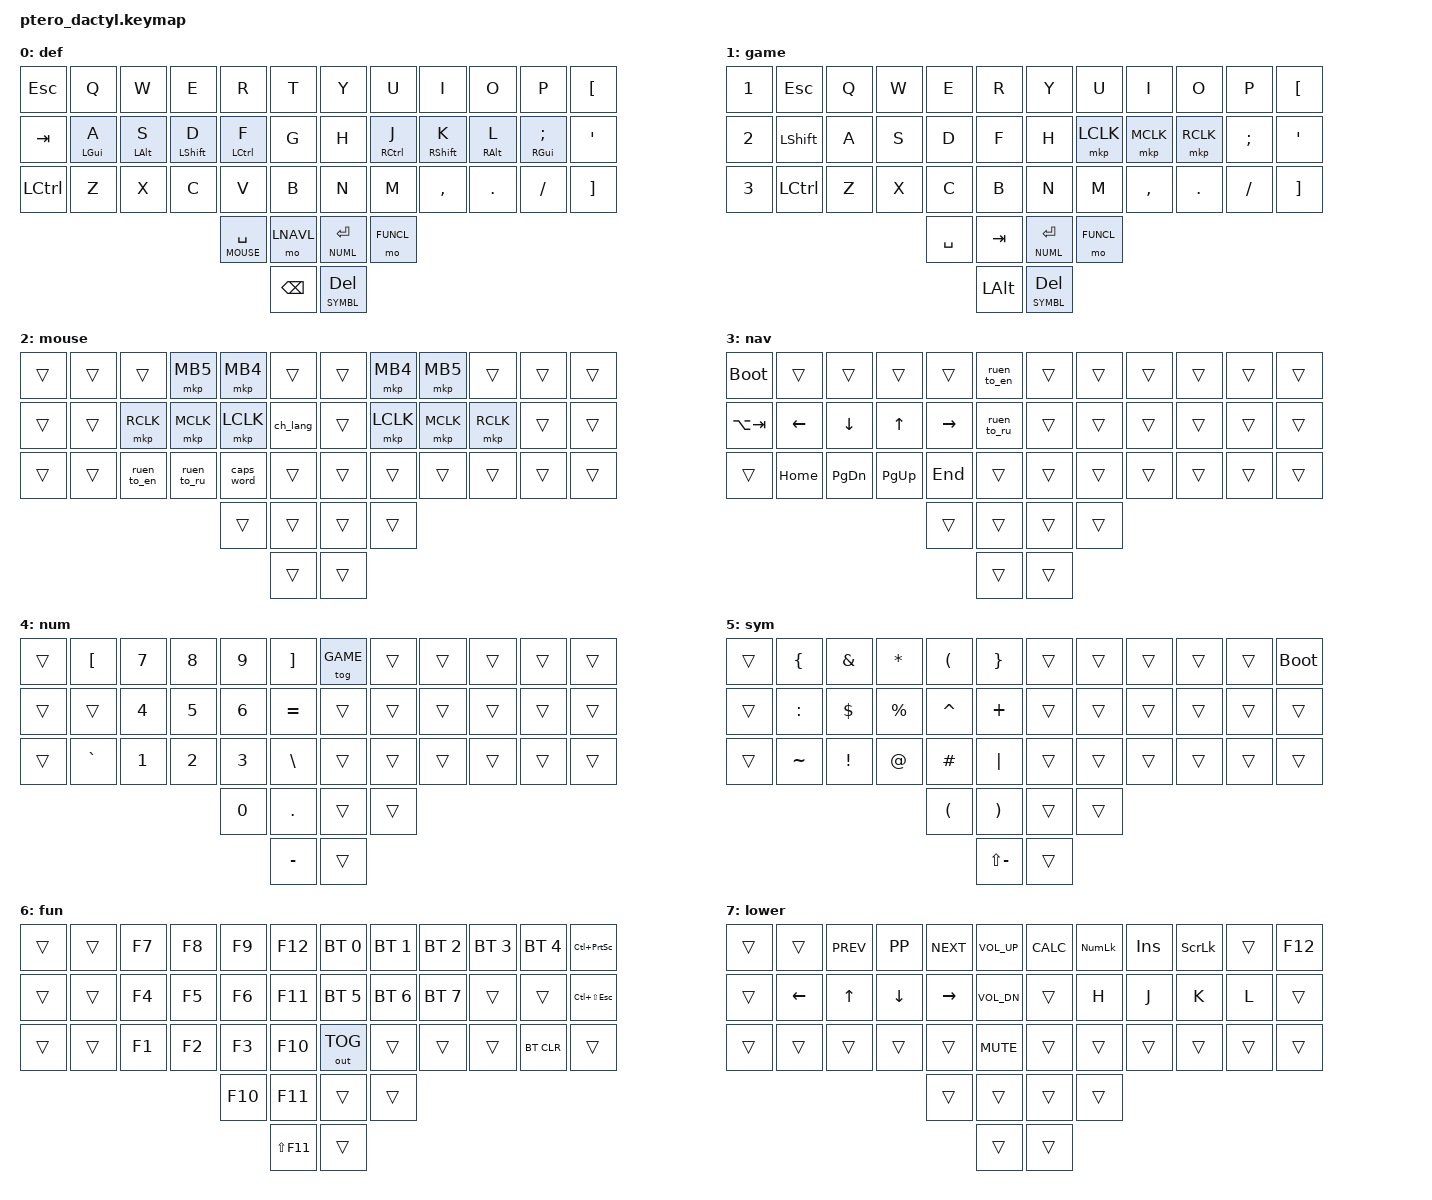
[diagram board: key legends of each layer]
#include <behaviors.dtsi>
#include <dt-bindings/zmk/keys.h>
#include <dt-bindings/zmk/bt.h>
#include <dt-bindings/zmk/pointing.h>
#include <dt-bindings/zmk/outputs.h>

// #include <behaviors/ruen.dtsi>

#define AS(keycode) &as LS(keycode) keycode     // Autoshift Macro

#define DEFAULT 0
#define GAME    1
#define MOUSE   2
#define LNAVL   3
#define NUML    4
#define SYMBL   5
#define FUNCL   6
#define LOWER   7

&caps_word {
    continue-list = <UNDERSCORE MINUS>;
};

/ {
    behaviors {
        as: auto_shift {
            compatible = "zmk,behavior-hold-tap";
            #binding-cells = <2>;
            tapping_term_ms = <145>;
            quick_tap_ms = <0>;
            flavor = "tap-preferred";
            bindings = <&kp>, <&kp>;
        };
        hml: home_row_mod_left {
            compatible = "zmk,behavior-hold-tap";
            #binding-cells = <2>;
            flavor = "balanced";
            require-prior-idle-ms = <150>;
            tapping-term-ms = <280>;
            quick-tap-ms = <175>;
            bindings = <&kp>, <&kp>;
            hold-trigger-key-positions = <6 7 8 9 10 11 18 19 20 21 22 23 30 31 32 33 34 35 38 39 41>; // List of keys on the right side of the keyboard
            hold-trigger-on-release;
        };
        hmr: home_row_mod_right {
            compatible = "zmk,behavior-hold-tap";
            #binding-cells = <2>;
            flavor = "balanced";
            require-prior-idle-ms = <150>;
            tapping-term-ms = <280>;
            quick-tap-ms = <175>;
            bindings = <&kp>, <&kp>;
            hold-trigger-key-positions = <0 1 2 3 4 5 12 13 14 15 16 17 24 25 26 27 28 29 36 37 40>; // List of keys on the left side of the keyboard
            hold-trigger-on-release;
        };
    };

    macros {
        ruen_to_en: ruen_to_en {
            compatible = "zmk,behavior-macro";
            #binding-cells = <0>;
            bindings = <&kp LA(LS(N0))>; // хоткей для переключения на английский
        };

        ruen_to_ru: ruen_to_ru {
            compatible = "zmk,behavior-macro";
            #binding-cells = <0>;
            bindings = <&kp LA(LS(N1))>; // хоткей для переключения на русский
        };

        ch_lang: ch_lang {
            compatible = "zmk,behavior-macro";
            #binding-cells = <0>;
            bindings
                = <&macro_press &kp LALT>
                , <&macro_tap &kp LSHFT>
                , <&macro_release &kp LALT>
                ;
        };
    };

    keymap {
        compatible = "zmk,keymap";

        default_layer {
            display-name = "def";
            bindings = <
&kp ESC    &kp Q        &kp W         &kp E                &kp R            &kp T                           &kp Y            &kp U         &kp I             &kp O       &kp P             &kp LBKT
&kp TAB    &hml LGUI A  &hml LALT S   &hml LSHFT D         &hml LCTRL F     &kp G                           &kp H            &hmr RCTRL J  &hmr RSHFT K      &hmr RALT L &hmr RGUI SEMI    &kp SQT
&kp LCTRL  &kp Z        &kp X         &kp C                &kp V            &kp B                           &kp N            &kp M         &kp COMMA         &kp DOT     &kp FSLH          &kp RBKT
                                                           &lt MOUSE SPACE  &mo LNAVL                       &lt NUML ENTER   &mo FUNCL
                                                                            &kp BSPC                        &lt SYMBL DEL
            >;
        };

        game_layer {
            display-name = "game";
            bindings = <
&kp N1     &kp ESC    &kp Q      &kp W     &kp E      &kp R                                 &kp Y            &kp U      &kp I      &kp O      &kp P          &kp LBKT
&kp N2     &kp LSHIFT &kp A      &kp S     &kp D      &kp F                                 &kp H            &mkp LCLK  &mkp MCLK  &mkp RCLK  &kp SEMI       &kp SQT
&kp N3     &kp LCTRL  &kp Z      &kp X     &kp C      &kp B                                 &kp N            &kp M      &kp COMMA  &kp DOT    &kp FSLH       &kp RBKT
                                           &kp SPACE  &kp TAB                               &lt NUML ENTER   &mo FUNCL
                                                      &kp LALT                             &lt SYMBL DEL
            >;
        };

        as_layer {
            display-name = "mouse";
            bindings = <
&trans       &trans    &trans         &mkp MB5   &mkp MB4   &trans                           &trans      &mkp MB4    &mkp MB5    &trans      &trans      &trans
&trans       &trans    &mkp RCLK      &mkp MCLK  &mkp LCLK  &ch_lang                         &trans      &mkp LCLK   &mkp MCLK   &mkp RCLK   &trans      &trans
&trans       &trans    &ruen_to_en    &ruen_to_ru        &caps_word     &trans                           &trans      &trans      &trans      &trans      &trans      &trans
                                                            &trans     &trans                           &trans      &trans
                                                                       &trans                           &trans
            >;
        };

        lnavl {
            display-name = "nav";
            bindings = <
&bootloader  &trans    &trans    &trans     &trans     &ruen_to_en                   &trans      &trans      &trans      &trans      &trans      &trans
&kp LA(TAB)  &kp LEFT  &kp DOWN  &kp UP     &kp RIGHT  &ruen_to_ru                  &trans      &trans      &trans      &trans      &trans      &trans
&trans       &kp HOME  &kp PG_DN &kp PG_UP  &kp END    &trans                           &trans      &trans      &trans      &trans      &trans      &trans
                                            &trans     &trans                           &trans      &trans
                                                       &trans                           &trans
            >;
        };

        numl {
            display-name = "num";
            bindings = <
&trans    &kp LBKT  &kp N7      &kp N8        &kp N9       &kp RBKT                         &tog GAME   &trans      &trans      &trans      &trans      &trans
&trans    &trans    &kp N4      &kp N5        &kp N6       &kp EQUAL                        &trans      &trans      &trans      &trans      &trans      &trans
&trans    &kp GRAVE &kp N1      &kp N2        &kp N3       &kp BACKSLASH                    &trans      &trans      &trans      &trans      &trans      &trans
                                              &kp N0       &kp DOT                          &trans      &trans
                                                           &kp MINUS                        &trans
            >;
        };

        symbl {
            display-name = "sym";
            bindings = <
&trans    &kp LBRC  &kp AMPS   &kp ASTRK    &kp LPAR    &kp RBRC                        &trans      &trans      &trans      &trans      &trans      &bootloader
&trans    &kp COLON &kp DLLR   &kp PRCNT    &kp CARET   &kp PLUS                        &trans      &trans      &trans      &trans      &trans      &trans
&trans    &kp TILDE &kp EXCL   &kp AT       &kp POUND   &kp PIPE                        &trans      &trans      &trans      &trans      &trans      &trans
                                            &kp LPAR    &kp RPAR                        &trans      &trans
                                                        &kp LS(MINUS)                   &trans
            >;
        };

        funcl {
            display-name = "fun";
            bindings = <
&trans    &trans    &kp F7    &kp F8     &kp F9     &kp F12                          &bt BT_SEL 0  &bt BT_SEL 1  &bt BT_SEL 2  &bt BT_SEL 3  &bt BT_SEL 4  &kp LC(PRINTSCREEN)
&trans    &trans    &kp F4    &kp F5     &kp F6     &kp F11                          &bt BT_SEL 5  &bt BT_SEL 6  &bt BT_SEL 7  &trans        &trans        &kp LC(LS(ESC))
&trans    &trans    &kp F1    &kp F2     &kp F3     &kp F10                          &out OUT_TOG  &trans        &trans        &trans        &bt BT_CLR    &trans
                                         &kp F10    &kp F11                          &trans        &trans
                                                    &kp LS(F11)                      &trans
            >;
        };

        lower {
// commented layout is not actual layout.
// -------------------------------------------------------------------------------------------------------------------------
// |   esc   |    1    |    2    |    3    |    4    |    5    |                   |    6    |    7    |    8    |    9    |    0    |  bspc   |
// |   tab   |    q    |    w    |    e    |    r    |    t    |                   |    y    |    u    |    i    |    o    |    p    |    \    |
// |  lalt   |    a    |    s    |    d    |    f    |    g    |                   |    h    |    j    |    k    |    l    |    ;    |    '    |
// |  lctrl  |    z    |    x    |    c    |    v    |    b    |                   |    n    |    m    |    ,    |    .    |    /    |  ralt   |
//                     |    [    |    ]    |                                                           |    -   |    =    |
//                               | mo lay 1| space   |                   | enter   | mo lay 2|
//                                         |   tab   |   home  |   end   |   del   |
//                                         |  raise  |    ~    |   gui   |  lower  |
            bindings = <
&trans     &trans     &kp K_PREV &kp K_PP   &kp K_NEXT &kp C_VOL_UP                    &kp K_CALC &kp KP_NUM &kp INS    &kp SLCK   &trans      &kp F12
&trans     &kp LEFT   &kp UP     &kp DOWN   &kp RIGHT  &kp C_VOL_DN                    &trans     &kp H      &kp J      &kp K      &kp L       &trans
&trans     &trans     &trans     &trans     &trans     &kp C_MUTE                      &trans     &trans     &trans     &trans     &trans      &trans
                                            &trans     &trans                          &trans     &trans
                                                       &trans                          &trans
            >;
        };
   };
};
